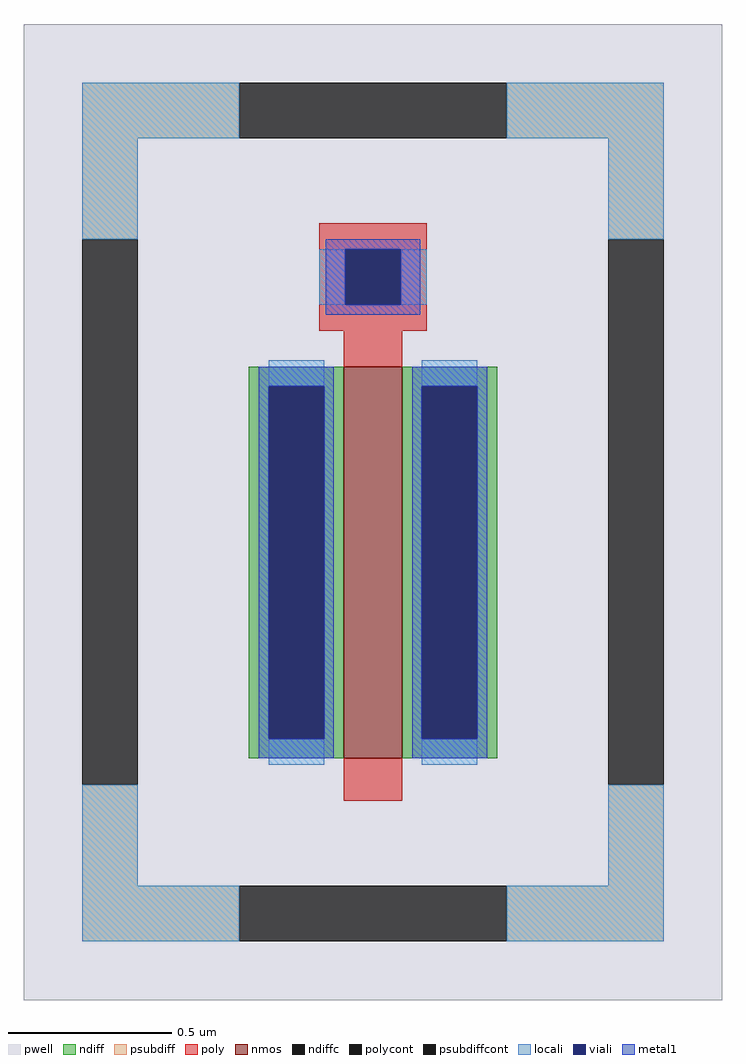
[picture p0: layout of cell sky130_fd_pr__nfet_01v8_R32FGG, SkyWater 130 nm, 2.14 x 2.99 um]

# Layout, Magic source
magic
tech sky130A
magscale 1 2
<< pwell >>
rect -214 -299 214 299
<< nmos >>
rect -18 -151 18 89
<< ndiff >>
rect -76 77 -18 89
rect -76 -139 -64 77
rect -30 -139 -18 77
rect -76 -151 -18 -139
rect 18 77 76 89
rect 18 -139 30 77
rect 64 -139 76 77
rect 18 -151 76 -139
<< ndiffc >>
rect -64 -139 -30 77
rect 30 -139 64 77
<< psubdiff >>
rect -178 229 -82 263
rect 82 229 178 263
rect -178 167 -144 229
rect 144 167 178 229
rect -178 -229 -144 -167
rect 144 -229 178 -167
rect -178 -263 -82 -229
rect 82 -263 178 -229
<< psubdiffcont >>
rect -82 229 82 263
rect -178 -167 -144 167
rect 144 -167 178 167
rect -82 -263 82 -229
<< poly >>
rect -33 161 33 177
rect -33 127 -17 161
rect 17 127 33 161
rect -33 111 33 127
rect -18 89 18 111
rect -18 -177 18 -151
<< polycont >>
rect -17 127 17 161
<< locali >>
rect -178 229 -82 263
rect 82 229 178 263
rect -178 167 -144 229
rect 144 167 178 229
rect -33 127 -17 161
rect 17 127 33 161
rect -64 77 -30 93
rect -64 -155 -30 -139
rect 30 77 64 93
rect 30 -155 64 -139
rect -178 -229 -144 -167
rect 144 -229 178 -167
rect -178 -263 -82 -229
rect 82 -263 178 -229
<< viali >>
rect -17 127 17 161
rect -64 -139 -30 77
rect 30 -139 64 77
<< metal1 >>
rect -29 161 29 167
rect -29 127 -17 161
rect 17 127 29 161
rect -29 121 29 127
rect -70 77 -24 89
rect -70 -139 -64 77
rect -30 -139 -24 77
rect -70 -151 -24 -139
rect 24 77 70 89
rect 24 -139 30 77
rect 64 -139 70 77
rect 24 -151 70 -139
<< properties >>
string FIXED_BBOX -161 -246 161 246
string gencell sky130_fd_pr__nfet_01v8
string library sky130
string parameters w 1.2 l 0.18 m 1 nf 1 diffcov 100 polycov 100 guard 1 glc 1 grc 1 gtc 1 gbc 1 tbcov 100 rlcov 100 topc 1 botc 0 poverlap 0 doverlap 1 lmin 0.15 wmin 0.42 compatible {sky130_fd_pr__nfet_01v8 sky130_fd_pr__nfet_01v8_lvt  sky130_fd_bs_flash__special_sonosfet_star  sky130_fd_pr__nfet_g5v0d10v5 sky130_fd_pr__nfet_05v0_nvt  sky130_fd_pr__nfet_03v3_nvt} full_metal 1 viasrc 100 viadrn 100 viagate 100 viagb 0 viagr 0 viagl 0 viagt 0
<< end >>
